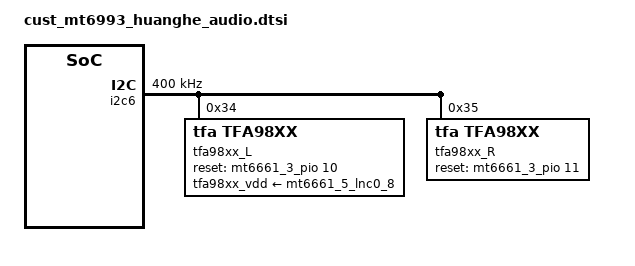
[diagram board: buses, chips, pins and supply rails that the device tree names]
// SPDX-License-Identifier: GPL-2.0
/* Copyright (c) 2020 MediaTek Inc. */

#include <dt-bindings/pinctrl/mt6661-pinfunc.h>

&mt6661_3_pio {
	tfa98xx_gpio_L: tfa98xx_gpio_L {
		pins_cmd_dat {
			pinmux = <PINMUX_MT6661_GPIO10__FUNC_GPIO10>;
			output-low;
		};
	};

	tfa98xx_gpio_R: tfa98xx_gpio_R {
		pins_cmd_dat {
			pinmux = <PINMUX_MT6661_GPIO11__FUNC_GPIO11>;
			output-low;
		};
	};
};

&i2c6 {
	clock-frequency = <400000>;

	tfa98xx_L: tfa98xx@34 {
		compatible = "tfa,tfa98xx";
		reg = <0x34>;
		reset-gpio = <&mt6661_3_pio 10 0>;
		pinctrl-names = "default";
		pinctrl-0 = <&tfa98xx_gpio_L>;
		tfa_min_range = <5300>;
		tfa_max_range = <7500>;
		f0_range_min = <100>;
		f0_range_max = <2000>;
		is_use_freq;
		reset-polarity = <0>;
		tfa98xx_vdd-supply = <&mt6661_5_lnc0_8>;
		channel-config = <1>;
		status = "okay";
	};

	tfa98xx_R: tfa98xx@35 {
		compatible = "tfa,tfa98xx";
		reg = <0x35>;
		reset-gpio = <&mt6661_3_pio 11 0>;
		pinctrl-names = "default";
		pinctrl-0 = <&tfa98xx_gpio_R>;
		tfa_min_range = <5300>;
		tfa_max_range = <7500>;
		f0_range_min = <100>;
		f0_range_max = <2000>;
		is_use_freq;
		reset-polarity = <0>;
		channel-config = <2>;
		status = "okay";
	};
};

&audio_extend {
	//for nxp speaker
	oplus,speaker-vendor = "nxp";
	oplus,speaker-i2s-id = <9>;
	oplus,speaker-i2s-id-in = <8>;
	oplus,speaker-codec-name = "tfa98xx.6-0034","tfa98xx.6-0035";
	oplus,speaker-codec-dai-name = "tfa98xx-aif-6-34","tfa98xx-aif-6-35";
	oplus,spk-i2s-index = <25 24>;
};



